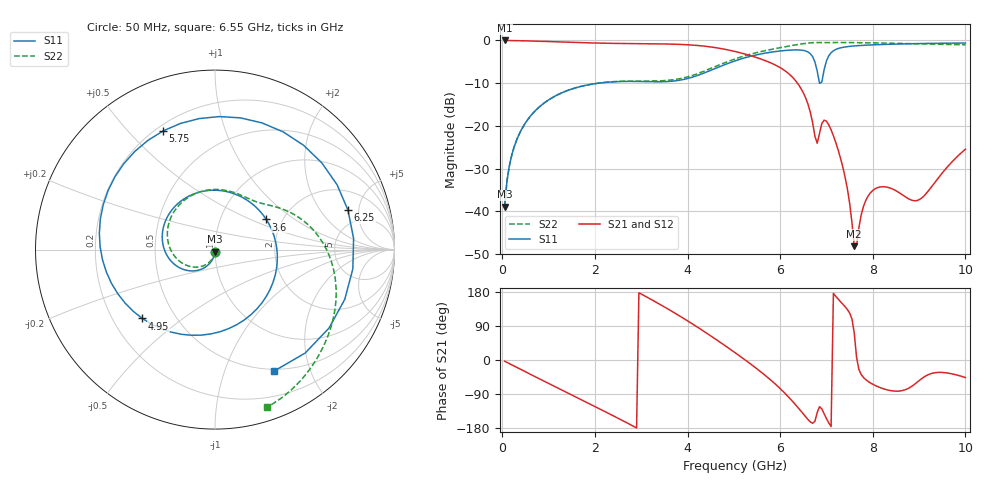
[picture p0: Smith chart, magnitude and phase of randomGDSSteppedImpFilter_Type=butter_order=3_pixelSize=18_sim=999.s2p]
! freq	dB(S11)	phase(S11)	dB(S12)	phase(S12)
!  dB(S21)	phase(S21)	dB(S22)	phase(S22)
!S-par simulation data
#  GHz  S  DB  R 50
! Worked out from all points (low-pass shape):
!   200 points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, 50 MHz to 10 GHz, reference 50 ohm
!   highest |S21| = -0.01 dB at 50 MHz (marker M1); lowest = -48.1 dB at 7.6 GHz (marker M2)
!   |S21| within 3 dB of the highest: start of sweep to 5.18 GHz
!   lowest |S11| = -38.9 dB at 50 MHz (marker M3), VSWR 1.02, Z = 50 - j1.14 ohm
!   |S11| at or under -10 dB: start of sweep to 2.076 GHz; 6.849434 GHz to 6.855193 GHz (5.758 MHz wide, 0.084 % of centre)
!   |S22| runs from -38.9 to -0.5 dB; largest |S21 - S12| = 0
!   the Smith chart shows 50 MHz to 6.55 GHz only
!   S11 on the Smith chart (normalised r, x): 50 MHz: 1.00, -0.02; 3.6 GHz: 1.65, +0.62; 4.95 GHz: 0.32, -0.36; 5.75 GHz: 0.23, +0.63; 6.25 GHz: 3.50, +3.81; 6.55 GHz: 0.47, -1.49
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0.05  -38.89 -91.5  -0.01 -3.2  -0.01 -3.2  -38.90 -92.3
0.2  -27.01 -101.0  -0.03 -12.5  -0.03 -12.5  -27.02 -103.8
0.5  -19.28 -118.1  -0.10 -31.1  -0.10 -31.1  -19.30 -125.0
1.75  -10.62 172.3  -0.53 -107.4  -0.53 -107.4  -10.61 151.4
2.65  -9.59 115.6  -0.73 -163.2  -0.73 -163.2  -9.52 97.0
3.4  -9.67 51.7  -0.81 147.1  -0.81 147.1  -9.45 61.7
3.6  -9.59 30.5  -0.85 133.0  -0.85 133.0  -9.32 54.7
4.25  -8.06 -48.5  -1.21 83.9  -1.21 83.9  -7.63 34.9
4.95  -5.07 -136.6  -2.40 25.9  -2.40 25.9  -4.62 6.2
5.05  -4.69 -149.2  -2.65 17.3  -2.65 17.3  -4.23 1.3
5.75  -2.83 113.6  -5.03 -48.0  -5.03 -48.0  -2.23 -33.0
6.25  -2.24 16.5  -8.43 -106.8  -8.43 -106.8  -1.19 -56.8
6.55  -2.47 -64.2  -13.42 -149.7  -13.42 -149.7  -0.69 -71.8
6.7  -3.77 -120.9  -19.20 -167.0  -19.20 -167.0  -0.53 -79.7
6.85  -10.03 119.1  -21.69 -123.2  -21.69 -123.2  -0.50 -87.4
7  -4.79 -40.0  -18.90 -154.7  -18.90 -154.7  -0.52 -94.3
7.2  -2.12 -109.4  -23.84 168.1  -23.84 168.1  -0.48 -103.3
7.6  -1.28 -176.9  -48.11 71.3  -48.11 71.3  -0.51 -121.2
7.9  -1.08 149.1  -36.37 -56.6  -36.37 -56.6  -0.56 -134.3
8.35  -0.90 109.0  -34.43 -79.9  -34.43 -79.9  -0.65 -154.5
9  -0.73 63.6  -37.24 -54.5  -37.24 -54.5  -0.79 173.8
10  -0.62 10.6  -25.43 -46.3  -25.43 -46.3  -1.02 114.0
